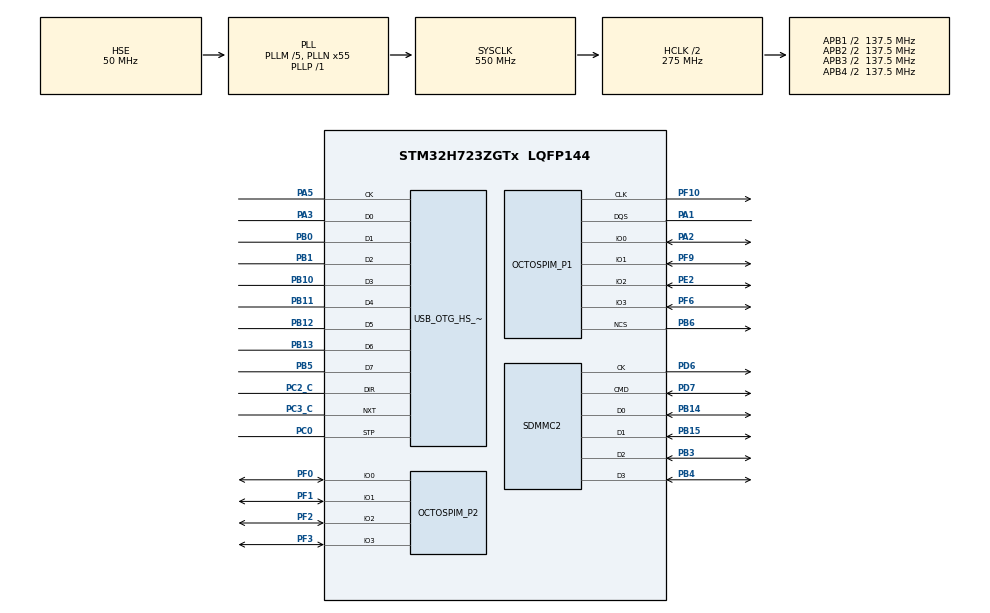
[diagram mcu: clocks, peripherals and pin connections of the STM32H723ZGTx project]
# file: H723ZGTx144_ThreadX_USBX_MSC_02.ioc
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CORTEX_M7.AccessPermission_S-Cortex_Memory_Protection_Unit_Region1_Settings_S=MPU_REGION_FULL_ACCESS
CORTEX_M7.AccessPermission_S-Cortex_Memory_Protection_Unit_Region2_Settings_S=MPU_REGION_FULL_ACCESS
CORTEX_M7.AccessPermission_S-Cortex_Memory_Protection_Unit_Region3_Settings_S=MPU_REGION_FULL_ACCESS
CORTEX_M7.AccessPermission_S-Cortex_Memory_Protection_Unit_Region4_Settings_S=MPU_REGION_FULL_ACCESS
CORTEX_M7.AccessPermission_S-Cortex_Memory_Protection_Unit_Region5_Settings_S=MPU_REGION_FULL_ACCESS
CORTEX_M7.AccessPermission_Spec=MPU_REGION_FULL_ACCESS
CORTEX_M7.BaseAddress_S-Cortex_Memory_Protection_Unit_Region1_Settings_S=0x6000000
CORTEX_M7.BaseAddress_S-Cortex_Memory_Protection_Unit_Region2_Settings_S=0x30000000
CORTEX_M7.BaseAddress_S-Cortex_Memory_Protection_Unit_Region3_Settings_S=0x30004000
CORTEX_M7.BaseAddress_S-Cortex_Memory_Protection_Unit_Region4_Settings_S=0x90000000
CORTEX_M7.BaseAddress_S-Cortex_Memory_Protection_Unit_Region5_Settings_S=0x24040000
CORTEX_M7.BaseAddress_Spec=0x24000000
CORTEX_M7.CPU_DCache=Enabled
CORTEX_M7.CPU_ICache=Enabled
CORTEX_M7.DisableExec_S-Cortex_Memory_Protection_Unit_Region3_Settings_S=MPU_INSTRUCTION_ACCESS_ENABLE
CORTEX_M7.DisableExec_Spec=MPU_INSTRUCTION_ACCESS_ENABLE
CORTEX_M7.Enable_S-Cortex_Memory_Protection_Unit_Region1_Settings_S=MPU_REGION_ENABLE
CORTEX_M7.Enable_S-Cortex_Memory_Protection_Unit_Region2_Settings_S=MPU_REGION_ENABLE
CORTEX_M7.Enable_S-Cortex_Memory_Protection_Unit_Region3_Settings_S=MPU_REGION_ENABLE
CORTEX_M7.Enable_S-Cortex_Memory_Protection_Unit_Region4_Settings_S=MPU_REGION_ENABLE
CORTEX_M7.Enable_S-Cortex_Memory_Protection_Unit_Region5_Settings_S=MPU_REGION_ENABLE
CORTEX_M7.IsBufferable_S-Cortex_Memory_Protection_Unit_Region1_Settings_S=MPU_ACCESS_BUFFERABLE
CORTEX_M7.IsBufferable_S-Cortex_Memory_Protection_Unit_Region2_Settings_S=MPU_ACCESS_NOT_BUFFERABLE
CORTEX_M7.IsBufferable_S-Cortex_Memory_Protection_Unit_Region3_Settings_S=MPU_ACCESS_NOT_BUFFERABLE
CORTEX_M7.IsBufferable_S-Cortex_Memory_Protection_Unit_Region4_Settings_S=MPU_ACCESS_NOT_BUFFERABLE
CORTEX_M7.IsBufferable_Spec=MPU_ACCESS_BUFFERABLE
CORTEX_M7.IsCacheable_S-Cortex_Memory_Protection_Unit_Region2_Settings_S=MPU_ACCESS_NOT_CACHEABLE
CORTEX_M7.IsCacheable_S-Cortex_Memory_Protection_Unit_Region3_Settings_S=MPU_ACCESS_NOT_CACHEABLE
CORTEX_M7.IsCacheable_S-Cortex_Memory_Protection_Unit_Region4_Settings_S=MPU_ACCESS_CACHEABLE
CORTEX_M7.IsCacheable_Spec=MPU_ACCESS_CACHEABLE
CORTEX_M7.IsShareable_S-Cortex_Memory_Protection_Unit_Region5_Settings_S=MPU_ACCESS_NOT_SHAREABLE
CORTEX_M7.IsShareable_Spec=MPU_ACCESS_NOT_SHAREABLE
CORTEX_M7.Size_S-Cortex_Memory_Protection_Unit_Region1_Settings_S=MPU_REGION_SIZE_64KB
CORTEX_M7.Size_S-Cortex_Memory_Protection_Unit_Region2_Settings_S=MPU_REGION_SIZE_16KB
CORTEX_M7.Size_S-Cortex_Memory_Protection_Unit_Region3_Settings_S=MPU_REGION_SIZE_16KB
CORTEX_M7.Size_S-Cortex_Memory_Protection_Unit_Region4_Settings_S=MPU_REGION_SIZE_64MB
CORTEX_M7.Size_S-Cortex_Memory_Protection_Unit_Region5_Settings_S=MPU_REGION_SIZE_64KB
CORTEX_M7.Size_Spec=MPU_REGION_SIZE_256KB
CORTEX_M7.SubRegionDisable_S-Cortex_Memory_Protection_Unit_Region2_Settings_S=0x0
CORTEX_M7.SubRegionDisable_Spec=0
CORTEX_M7.TypeExtField_S-Cortex_Memory_Protection_Unit_Region2_Settings_S=MPU_TEX_LEVEL1
CORTEX_M7.TypeExtField_S-Cortex_Memory_Protection_Unit_Region3_Settings_S=MPU_TEX_LEVEL1
CORTEX_M7.TypeExtField_S-Cortex_Memory_Protection_Unit_Region4_Settings_S=MPU_TEX_LEVEL0
CORTEX_M7.TypeExtField_S-Cortex_Memory_Protection_Unit_Region5_Settings_S=MPU_TEX_LEVEL1
CORTEX_M7.TypeExtField_Spec=MPU_TEX_LEVEL1
CORTEX_M7.default_mode_Activation=1
Mcu.Family=STM32H7
Mcu.Name=STM32H723ZGTx
Mcu.Package=LQFP144
NVIC.OCTOSPI1_IRQn=true\:0\:0\:true\:false\:true\:false\:true\:true\:true
NVIC.OTG_HS_IRQn=true\:2\:0\:true\:false\:true\:false\:true\:true\:true
NVIC.PriorityGroup=NVIC_PRIORITYGROUP_4
NVIC.SDMMC2_IRQn=true\:5\:0\:true\:false\:true\:false\:true\:true\:true
NVIC.TIM4_IRQn=true\:15\:0\:true\:false\:true\:false\:false\:true\:true
NVIC.TimeBase=TIM4_IRQn
NVIC.TimeBaseIP=TIM4
OCTOSPI1.ChipSelectBoundary=11
OCTOSPI1.ChipSelectHighTime=2
OCTOSPI1.DelayBlockBypass=HAL_OSPI_DELAY_BLOCK_USED
OCTOSPI1.DelayHoldQuarterCycle=HAL_OSPI_DHQC_ENABLE
OCTOSPI1.DeviceSize=26
OCTOSPI1.FifoThreshold=4
OCTOSPI1.MemoryType=HAL_OSPI_MEMTYPE_APMEMORY
OCTOSPI1.Refresh=202
PA1.Mode=OCTOSPI1_Port1_DQS
PA1.Signal=OCTOSPIM_P1_DQS
PA13(JTMS/SWDIO).Mode=Serial_Wire
PA13(JTMS/SWDIO).Signal=DEBUG_JTMS-SWDIO
PA14(JTCK/SWCLK).Mode=Serial_Wire
PA14(JTCK/SWCLK).Signal=DEBUG_JTCK-SWCLK
PA2.Mode=OCTOSPI1_IOL_Port1L
PA2.Signal=OCTOSPIM_P1_IO0
PA3.Mode=Device_HS
PA3.Signal=USB_OTG_HS_ULPI_D0
PA5.Mode=Device_HS
PA5.Signal=USB_OTG_HS_ULPI_CK
PB0.Mode=Device_HS
PB0.Signal=USB_OTG_HS_ULPI_D1
PB1.Mode=Device_HS
PB1.Signal=USB_OTG_HS_ULPI_D2
PB10.Mode=Device_HS
PB10.Signal=USB_OTG_HS_ULPI_D3
PB11.Mode=Device_HS
PB11.Signal=USB_OTG_HS_ULPI_D4
PB12.Mode=Device_HS
PB12.Signal=USB_OTG_HS_ULPI_D5
PB13.Mode=Device_HS
PB13.Signal=USB_OTG_HS_ULPI_D6
PB14.Mode=SD_4_bits_Wide_bus
PB14.Signal=SDMMC2_D0
PB15.Mode=SD_4_bits_Wide_bus
PB15.Signal=SDMMC2_D1
PB3(JTDO/TRACESWO).Mode=SD_4_bits_Wide_bus
PB3(JTDO/TRACESWO).Signal=SDMMC2_D2
PB4(NJTRST).Mode=SD_4_bits_Wide_bus
PB4(NJTRST).Signal=SDMMC2_D3
PB5.Mode=Device_HS
PB5.Signal=USB_OTG_HS_ULPI_D7
PB6.Mode=OCTOSPI1_Port1_NCS
PB6.Signal=OCTOSPIM_P1_NCS
PC0.Mode=Device_HS
PC0.Signal=USB_OTG_HS_ULPI_STP
PC2_C.Mode=Device_HS
PC2_C.Signal=USB_OTG_HS_ULPI_DIR
PC3_C.Mode=Device_HS
PC3_C.Signal=USB_OTG_HS_ULPI_NXT
PD6.Mode=SD_4_bits_Wide_bus
PD6.Signal=SDMMC2_CK
PD7.Mode=SD_4_bits_Wide_bus
PD7.Signal=SDMMC2_CMD
PE2.Mode=OCTOSPI1_IOL_Port1L
PE2.Signal=OCTOSPIM_P1_IO2
PF0.Mode=OCTOSPI1_IOH_Port2L
PF0.Signal=OCTOSPIM_P2_IO0
PF1.Mode=OCTOSPI1_IOH_Port2L
PF1.Signal=OCTOSPIM_P2_IO1
PF10.Mode=O1_P1_CLK
PF10.Signal=OCTOSPIM_P1_CLK
PF2.Mode=OCTOSPI1_IOH_Port2L
PF2.Signal=OCTOSPIM_P2_IO2
PF3.Mode=OCTOSPI1_IOH_Port2L
PF3.Signal=OCTOSPIM_P2_IO3
PF6.Mode=OCTOSPI1_IOL_Port1L
PF6.Signal=OCTOSPIM_P1_IO3
PF9.Mode=OCTOSPI1_IOL_Port1L
PF9.Signal=OCTOSPIM_P1_IO1
PH0-OSC_IN.Mode=HSE-External-Clock-Source
PH0-OSC_IN.Signal=RCC_OSC_IN
ProjectManager.HeapSize=0x1000
ProjectManager.StackSize=0x4000
ProjectManager.TargetToolchain=STM32CubeIDE
RCC.ADCFreq_Value=170000000
RCC.APB1Freq_Value=137500000
RCC.APB2Freq_Value=137500000
RCC.APB3Freq_Value=137500000
RCC.APB4Freq_Value=137500000
RCC.CortexFreq_Value=550000000
RCC.D1PPRE=RCC_APB3_DIV2
RCC.D2PPRE1=RCC_APB1_DIV2
RCC.D2PPRE2=RCC_APB2_DIV2
RCC.D3PPRE=RCC_APB4_DIV2
RCC.DIVM1=5
RCC.DIVM2=5
RCC.DIVM3=25
RCC.DIVN1=55
RCC.DIVN2=34
RCC.DIVN3=96
RCC.DIVP1=1
RCC.DIVQ1=11
RCC.DIVQ3=4
RCC.DIVR2=4
RCC.HCLKFreq_Value=275000000
RCC.HPRE=RCC_HCLK_DIV2
RCC.HSE_VALUE=50000000
RCC.PLLSourceVirtual=RCC_PLLSOURCE_HSE
RCC.QSPICLockSelection=RCC_OSPICLKSOURCE_PLL2
RCC.RCC_TIM_PRescaler_Selection=RCC_TIMPRES_DESACTIVATED
RCC.SYSCLKFreq_VALUE=550000000
RCC.SYSCLKSource=RCC_SYSCLKSOURCE_PLLCLK
RCC.USBCLockSelection=RCC_USBCLKSOURCE_PLL3
RCC.USBFreq_Value=48000000
SDMMC2.ClockDiv=0
SDMMC2.HardwareFlowControl=SDMMC_HARDWARE_FLOW_CONTROL_ENABLE
STMicroelectronics.X-CUBE-AZRTOS-H7.3.4.0.ENABLE_CACHE_MAINTENANCE=true
STMicroelectronics.X-CUBE-AZRTOS-H7.3.4.0.FILEX_APPLICATION_THREAD_STACK_SIZE=4096
STMicroelectronics.X-CUBE-AZRTOS-H7.3.4.0.FX_APP_MEM_POOL_SIZE=1024*10
STMicroelectronics.X-CUBE-AZRTOS-H7.3.4.0.FX_DISABLE_ERROR_CHECKING=1
STMicroelectronics.X-CUBE-AZRTOS-H7.3.4.0.FX_DRIVER_SD_INIT=0
STMicroelectronics.X-CUBE-AZRTOS-H7.3.4.0.FX_ENABLE_EXFAT=1
STMicroelectronics.X-CUBE-AZRTOS-H7.3.4.0.FX_FAT_MAP_SIZE=1024
STMicroelectronics.X-CUBE-AZRTOS-H7.3.4.0.FileXCcFileOoSystemJjFileXJjCore=true
STMicroelectronics.X-CUBE-AZRTOS-H7.3.4.0.InterfacesCcFileOoSystemJjFileXOoSDOointerface=true
STMicroelectronics.X-CUBE-AZRTOS-H7.3.4.0.MAX_FAT_CACHE_NB_BIT=10
STMicroelectronics.X-CUBE-AZRTOS-H7.3.4.0.MAX_POWER_IN_MILLI_AMPER=500
STMicroelectronics.X-CUBE-AZRTOS-H7.3.4.0.MAX_SECTOR_CACHE_NB_BIT=10
STMicroelectronics.X-CUBE-AZRTOS-H7.3.4.0.SD_INSTANCE=1
STMicroelectronics.X-CUBE-AZRTOS-H7.3.4.0.TX_APP_CREATION=1
STMicroelectronics.X-CUBE-AZRTOS-H7.3.4.0.TX_APP_GENERATE_INIT_CODE=true
STMicroelectronics.X-CUBE-AZRTOS-H7.3.4.0.TX_APP_MEM_POOL_SIZE=1024*10
STMicroelectronics.X-CUBE-AZRTOS-H7.3.4.0.TX_APP_STACK_SIZE=4096
STMicroelectronics.X-CUBE-AZRTOS-H7.3.4.0.TX_TIMER_THREAD_STACK_SIZE=2048
STMicroelectronics.X-CUBE-AZRTOS-H7.3.4.0.TX_TIMER_TICKS_PER_SECOND=1000
STMicroelectronics.X-CUBE-AZRTOS-H7.3.4.0.ThreadXCcRTOSJjThreadXJjCore=true
STMicroelectronics.X-CUBE-AZRTOS-H7.3.4.0.USBXCcUSBJjUSBXJjCoreSystem=true
STMicroelectronics.X-CUBE-AZRTOS-H7.3.4.0.USBXCcUSBJjUSBXJjUXOoDeviceOoClassOoSTORAGE=true
STMicroelectronics.X-CUBE-AZRTOS-H7.3.4.0.USBXCcUSBJjUSBXJjUXOoDeviceOoControllers=true
STMicroelectronics.X-CUBE-AZRTOS-H7.3.4.0.USBXCcUSBJjUSBXJjUXOoDeviceOoCoreStack=true
STMicroelectronics.X-CUBE-AZRTOS-H7.3.4.0.USBX_DEVICE_APP_THREAD_Size=4096
STMicroelectronics.X-CUBE-AZRTOS-H7.3.4.0.USBX_DEVICE_SYS_SIZE=1024*15
STMicroelectronics.X-CUBE-AZRTOS-H7.3.4.0.UX_ALIGN_MIN=UX_ALIGN_32
STMicroelectronics.X-CUBE-AZRTOS-H7.3.4.0.UX_DEBUG_LOG_SIZE=4096
STMicroelectronics.X-CUBE-AZRTOS-H7.3.4.0.UX_DEVICE_APP_MEM_POOL_SIZE=1024*20
STMicroelectronics.X-CUBE-AZRTOS-H7.3.4.0.UX_PERIODIC_RATE=1000
STMicroelectronics.X-CUBE-AZRTOS-H7.3.4.0.UX_SLAVE_REQUEST_DATA_MAX_LENGTH=4096
STMicroelectronics.X-CUBE-AZRTOS-H7.3.4.0.UX_THREAD_STACK_SIZE=4096
STMicroelectronics.X-CUBE-AZRTOS-H7.3.4.0_IsAnAzureRtosMw=true
TIM7.AutoReloadPreload=TIM_AUTORELOAD_PRELOAD_ENABLE
TIM7.Period=50000-1
TIM7.Prescaler=135-1
USB_OTG_HS.VirtualMode-Device_HS=Device_HS
USB_OTG_HS.dma_enable-Device_HS=ENABLE
VP_MEMORYMAP_VS_MEMORYMAP.Mode=CurAppReg
VP_OCTOSPI1_VS_octo.Mode=octo_mode
VP_STMicroelectronics.X-CUBE-AZRTOS-H7_VS_FileOoSystemJjFileX_6.4.0_3.4.0.Mode=FileOoSystemJjFileX
VP_STMicroelectronics.X-CUBE-AZRTOS-H7_VS_FileOoSystemJjInterfaces_3.4.0_3.4.0.Mode=FileOoSystemJjInterfaces
VP_STMicroelectronics.X-CUBE-AZRTOS-H7_VS_RTOSJjThreadX_6.4.0_3.4.0.Mode=RTOSJjThreadX
VP_STMicroelectronics.X-CUBE-AZRTOS-H7_VS_USBJjUSBX_6.4.0_3.4.0.Mode=USBJjUSBX
VP_SYS_VS_tim4.Mode=TIM4
VP_TIM3_VS_ClockSourceINT.Mode=Internal
VP_TIM7_VS_ClockSourceINT.Mode=Enable_Timer
board=custom

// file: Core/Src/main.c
/* USER CODE BEGIN Header */
/**
  ******************************************************************************
  * @file           : main.c
  * @brief          : Main program body
  ******************************************************************************
  * @attention
  *
  * Copyright (c) 2025 STMicroelectronics.
  * All rights reserved.
  *
  * This software is licensed under terms that can be found in the LICENSE file
  * in the root directory of this software component.
  * If no LICENSE file comes with this software, it is provided AS-IS.
  *
  ******************************************************************************
  */
/* USER CODE END Header */
#include "app_threadx.h"
#include "main.h"
#include "octospi.h"
#include "sdmmc.h"
#include "tim.h"
#include "gpio.h"

/* USER CODE BEGIN PV */
HAL_SD_CardInfoTypeDef                     USBD_SD_CardInfo;

// DTCM 前 0x400 空间用于存放从 FLASH 拷贝的中断向量表副本
__attribute__((section(".dtcmvtor_nold"), aligned(4))) uint8_t dtcm_isr_vector[1024];
/* USER CODE END PV */

void SystemClock_Config(void);
static void MPU_Config(void);

int main(void)
{

  /* USER CODE BEGIN 1 */
  UINT status;
  /* Operation interrupt vector table begin ----------------------------------*/
//#define INTERNAL_FLASH_BOOTLOADER_JUMP_TO_QSPI_FLASH_APP

#if defined(INTERNAL_FLASH_BOOTLOADER_JUMP_TO_QSPI_FLASH_APP)
	/*将当前内部闪存中使用的中断向量表更改为外部 QSPI 闪存中的中断向量表 */
	SCB->VTOR = (uint32_t *)QSPI_BASE;
#endif

#define COPY_VECTORTABLE_TO_DTCM

#if defined(COPY_VECTORTABLE_TO_DTCM)
#if defined(INTERNAL_FLASH_BOOTLOADER_JUMP_TO_QSPI_FLASH_APP)
	uint32_t *SouceAddr = (uint32_t *)QSPI_BASE;
#else
	uint32_t *SouceAddr = (uint32_t *)FLASH_BANK1_BASE;
#endif
	uint32_t *DestAddr = (uint32_t *)dtcm_isr_vector;

	/**
	 * memcpy 拷贝大小 0x400，即1KB，因为通过构建分析器查看 .isr_vector 大小为 716B，留有一定余量
	 * 此操作需要在链接文件中将 DTCM 从 0x200000000 偏移 1KB 开始 0x2000400;
	 */
	memcpy(DestAddr, SouceAddr, 0x400);

	/** 将当前中断向量表设置为从FLASH复制到DITCM中的副本 */
	SCB->VTOR = D1_DTCMRAM_BASE;
#endif
  /* Operation interrupt vector table end ------------------------------------*/
  /* USER CODE END 1 */

  /* MPU Configuration--------------------------------------------------------*/
  MPU_Config();

  /* Enable the CPU Cache */

  /* Enable I-Cache---------------------------------------------------------*/
  SCB_EnableICache();

  /* Enable D-Cache---------------------------------------------------------*/
  SCB_EnableDCache();

  /* MCU Configuration--------------------------------------------------------*/

  /* Reset of all peripherals, Initializes the Flash interface and the Systick. */
  HAL_Init();

  /* Configure the system clock */
  SystemClock_Config();

  /* Initialize all configured peripherals */
  MX_GPIO_Init();
  MX_TIM3_Init();
  MX_TIM7_Init();
  MX_OCTOSPI1_Init();
  MX_SDMMC2_SD_Init();
  /* USER CODE BEGIN 2 */

  /* Check if SD card is present */
  //if(HAL_GPIO_ReadPin(GPIOG, GPIO_PIN_12) == GPIO_PIN_SET) { Error_Handler(); }
  /* Get SD card info 存到 hsd2 里
   * 供后续 USBD_STORAGE_GetMediaLastLba() 和 USBD_STORAGE_GetMediaBlocklength() 获取信息
   */
  status = HAL_SD_GetCardInfo(&hsd2, &USBD_SD_CardInfo);

  if (status != HAL_OK)
  {
    Error_Handler();
  }

  /* USER CODE END 2 */

  MX_ThreadX_Init();

  /* We should never get here as control is now taken by the scheduler */

  /* Infinite loop */
  while (1)
  {

  }
}

void SystemClock_Config(void)
{
  RCC_OscInitTypeDef RCC_OscInitStruct = {0};
  RCC_ClkInitTypeDef RCC_ClkInitStruct = {0};

  /** Supply configuration update enable
  */
  HAL_PWREx_ConfigSupply(PWR_LDO_SUPPLY);

  /** Configure the main internal regulator output voltage
  */
  __HAL_PWR_VOLTAGESCALING_CONFIG(PWR_REGULATOR_VOLTAGE_SCALE0);

  while(!__HAL_PWR_GET_FLAG(PWR_FLAG_VOSRDY)) {}

  /** Initializes the RCC Oscillators according to the specified parameters
  * in the RCC_OscInitTypeDef structure.
  */
  RCC_OscInitStruct.OscillatorType = RCC_OSCILLATORTYPE_HSE;
  RCC_OscInitStruct.HSEState = RCC_HSE_BYPASS;
  RCC_OscInitStruct.PLL.PLLState = RCC_PLL_ON;
  RCC_OscInitStruct.PLL.PLLSource = RCC_PLLSOURCE_HSE;
  RCC_OscInitStruct.PLL.PLLM = 5;
  RCC_OscInitStruct.PLL.PLLN = 55;
  RCC_OscInitStruct.PLL.PLLP = 1;
  RCC_OscInitStruct.PLL.PLLQ = 11;
  RCC_OscInitStruct.PLL.PLLR = 2;
  RCC_OscInitStruct.PLL.PLLRGE = RCC_PLL1VCIRANGE_3;
  RCC_OscInitStruct.PLL.PLLVCOSEL = RCC_PLL1VCOWIDE;
  RCC_OscInitStruct.PLL.PLLFRACN = 0;
  if (HAL_RCC_OscConfig(&RCC_OscInitStruct) != HAL_OK)
  {
    Error_Handler();
  }

  /** Initializes the CPU, AHB and APB buses clocks
  */
  RCC_ClkInitStruct.ClockType = RCC_CLOCKTYPE_HCLK|RCC_CLOCKTYPE_SYSCLK
                              |RCC_CLOCKTYPE_PCLK1|RCC_CLOCKTYPE_PCLK2
                              |RCC_CLOCKTYPE_D3PCLK1|RCC_CLOCKTYPE_D1PCLK1;
  RCC_ClkInitStruct.SYSCLKSource = RCC_SYSCLKSOURCE_PLLCLK;
  RCC_ClkInitStruct.SYSCLKDivider = RCC_SYSCLK_DIV1;
  RCC_ClkInitStruct.AHBCLKDivider = RCC_HCLK_DIV2;
  RCC_ClkInitStruct.APB3CLKDivider = RCC_APB3_DIV2;
  RCC_ClkInitStruct.APB1CLKDivider = RCC_APB1_DIV2;
  RCC_ClkInitStruct.APB2CLKDivider = RCC_APB2_DIV2;
  RCC_ClkInitStruct.APB4CLKDivider = RCC_APB4_DIV2;

  if (HAL_RCC_ClockConfig(&RCC_ClkInitStruct, FLASH_LATENCY_3) != HAL_OK)
  {
    Error_Handler();
  }
}

/* USER CODE BEGIN 4 */
void _Error_Handler(const char * file, uint32_t line)
{
  /* USER CODE BEGIN Error_Handler_Debug */
  /* User can add his own implementation to report the HAL error return state */
  __disable_irq();
  while (1)
  {
  }
  /* USER CODE END Error_Handler_Debug */
}
/* USER CODE END 4 */

 /* MPU Configuration */

void MPU_Config(void)
{
  MPU_Region_InitTypeDef MPU_InitStruct = {0};

  /* Disables the MPU */
  HAL_MPU_Disable();

  /** Initializes and configures the Region and the memory to be protected
  */
  MPU_InitStruct.Enable = MPU_REGION_ENABLE;
  MPU_InitStruct.Number = MPU_REGION_NUMBER0;
  MPU_InitStruct.BaseAddress = 0x24000000;
  MPU_InitStruct.Size = MPU_REGION_SIZE_256KB;
  MPU_InitStruct.SubRegionDisable = 0;
  MPU_InitStruct.TypeExtField = MPU_TEX_LEVEL1;
  MPU_InitStruct.AccessPermission = MPU_REGION_FULL_ACCESS;
  MPU_InitStruct.DisableExec = MPU_INSTRUCTION_ACCESS_ENABLE;
  MPU_InitStruct.IsShareable = MPU_ACCESS_NOT_SHAREABLE;
  MPU_InitStruct.IsCacheable = MPU_ACCESS_CACHEABLE;
  MPU_InitStruct.IsBufferable = MPU_ACCESS_BUFFERABLE;

  HAL_MPU_ConfigRegion(&MPU_InitStruct);

  /** Initializes and configures the Region and the memory to be protected
  */
  MPU_InitStruct.Number = MPU_REGION_NUMBER1;
  MPU_InitStruct.BaseAddress = 0x6000000;
  MPU_InitStruct.Size = MPU_REGION_SIZE_64KB;
  MPU_InitStruct.SubRegionDisable = 0x0;
  MPU_InitStruct.TypeExtField = MPU_TEX_LEVEL0;
  MPU_InitStruct.IsCacheable = MPU_ACCESS_NOT_CACHEABLE;

  HAL_MPU_ConfigRegion(&MPU_InitStruct);

  /** Initializes and configures the Region and the memory to be protected
  */
  MPU_InitStruct.Number = MPU_REGION_NUMBER2;
  MPU_InitStruct.BaseAddress = 0x30000000;
  MPU_InitStruct.Size = MPU_REGION_SIZE_16KB;
  MPU_InitStruct.TypeExtField = MPU_TEX_LEVEL1;
  MPU_InitStruct.IsBufferable = MPU_ACCESS_NOT_BUFFERABLE;

  HAL_MPU_ConfigRegion(&MPU_InitStruct);

  /** Initializes and configures the Region and the memory to be protected
  */
  MPU_InitStruct.Number = MPU_REGION_NUMBER3;
  MPU_InitStruct.BaseAddress = 0x30004000;

  HAL_MPU_ConfigRegion(&MPU_InitStruct);

  /** Initializes and configures the Region and the memory to be protected
  */
  MPU_InitStruct.Number = MPU_REGION_NUMBER4;
  MPU_InitStruct.BaseAddress = 0x90000000;
  MPU_InitStruct.Size = MPU_REGION_SIZE_64MB;
  MPU_InitStruct.TypeExtField = MPU_TEX_LEVEL0;
  MPU_InitStruct.IsCacheable = MPU_ACCESS_CACHEABLE;

  HAL_MPU_ConfigRegion(&MPU_InitStruct);

  /** Initializes and configures the Region and the memory to be protected
  */
  MPU_InitStruct.Number = MPU_REGION_NUMBER5;
  MPU_InitStruct.BaseAddress = 0x24040000;
  MPU_InitStruct.Size = MPU_REGION_SIZE_64KB;
  MPU_InitStruct.TypeExtField = MPU_TEX_LEVEL1;
  MPU_InitStruct.IsCacheable = MPU_ACCESS_NOT_CACHEABLE;

  HAL_MPU_ConfigRegion(&MPU_InitStruct);
  /* Enables the MPU */
  HAL_MPU_Enable(MPU_PRIVILEGED_DEFAULT);

}

void HAL_TIM_PeriodElapsedCallback(TIM_HandleTypeDef *htim)
{
  if (htim->Instance == TIM4)
  {
    HAL_IncTick();
  }
}

void Error_Handler(void)
{
  __disable_irq();
  while (1)
  {
  }
}
